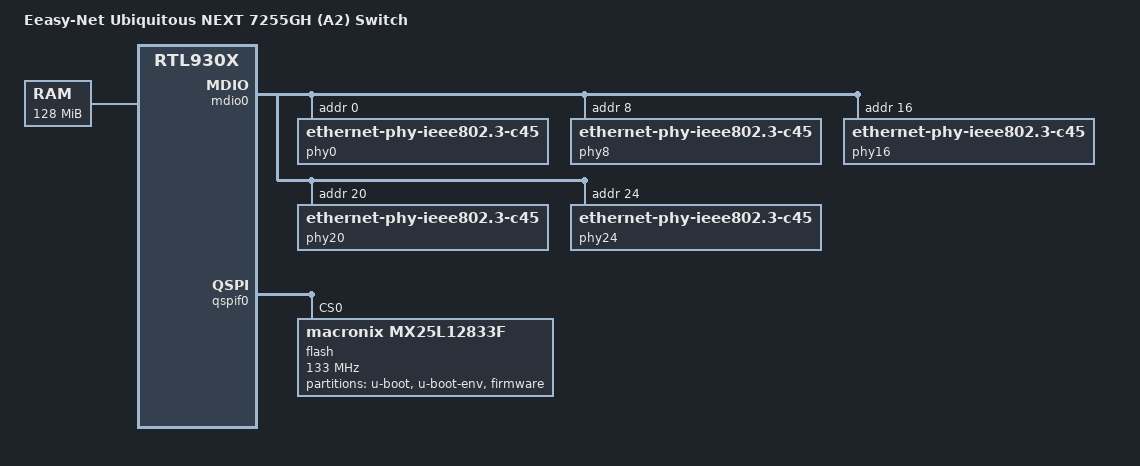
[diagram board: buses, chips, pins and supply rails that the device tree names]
// SPDX-License-Identifier: GPL-2.0-or-later
/dts-v1/;

#include <dt-bindings/gpio/gpio.h>
#include <dt-bindings/input/input.h>
#include <dt-bindings/leds/common.h>
#include <dt-bindings/leds/leds-realtek.h>

#include "rtl9303.dtsi"

/ {
	compatible = "ezu,next-7255gh-a2", "realtek,rtl9303-soc", "realtek,rtl930x-soc";
	model = "Eeasy-Net Ubiquitous NEXT 7255GH (A2) Switch";

	led_set: led_set {
		compatible = "realtek,rtl9300-leds";
		led_set0 = /bits/ 16 <
			/* LED0 */
			(
				RTL93XX_LED_SET_LINK_ACTIVITY |
				RTL93XX_LED_SET_LINK_UP_SOLID |
				RTL93XX_LED_SET_2G5_LINK
			)
			/* LED1 */
			(
				RTL93XX_LED_SET_LINK_ACTIVITY |
				RTL93XX_LED_SET_LINK_UP_SOLID |
				RTL93XX_LED_SET_1000M_LINK |
				RTL93XX_LED_SET_100M_LINK |
				RTL93XX_LED_SET_10M_LINK
			)
		>;
	};

	memory@0 {
		reg = <0x0 0x8000000>; /* 128 MiB */
		device_type = "memory";
	};
};

&mdio0 {
	/* RTL8226 2.5Gpbs PHYs */
	phy0: ethernet-phy@0 {
		reg = <0>;
		compatible = "ethernet-phy-ieee802.3-c45";
		rtl9300,smi-address = <0 1>;
		sds = <2>;
	};

	phy8: ethernet-phy@8 {
		reg = <8>;
		compatible = "ethernet-phy-ieee802.3-c45";
		rtl9300,smi-address = <0 2>;
		sds = <3>;
	};

	phy16: ethernet-phy@16 {
		reg = <16>;
		compatible = "ethernet-phy-ieee802.3-c45";
		rtl9300,smi-address = <0 3>;
		sds = <4>;
	};

	phy20: ethernet-phy@20 {
		reg = <20>;
		compatible = "ethernet-phy-ieee802.3-c45";
		rtl9300,smi-address = <0 4>;
		sds = <5>;
	};

	phy24: ethernet-phy@24 {
		reg = <24>;
		compatible = "ethernet-phy-ieee802.3-c45";
		rtl9300,smi-address = <0 5>;
		sds = <6>;
	};
};

&qspif0 {
	status = "okay";

	flash@0 {
		compatible = "macronix,mx25l12833f", "mxicy,mx25l12833f", "jedec,spi-nor";
		reg = <0>;
		spi-max-frequency = <133000000>;

		partitions: partitions {
			compatible = "fixed-partitions";
			#address-cells = <1>;
			#size-cells = <1>;

			partition@0 {
				reg = <0x0 0xe0000>;
				label = "u-boot";
				read-only;
			};

			partition@e0000 {
				reg = <0xe0000 0x10000>;
				label = "u-boot-env";
			};

			partition@f0000 {
				compatible = "openwrt,uimage", "denx,uimage";
				reg = <0xf0000 0x1f10000>;
				label = "firmware";
				openwrt,ih-magic = <0x93030000>;
			};
		};
	};
};

&switch0_ports {
	port@0 {
		reg = <0>;
		label = "lan1";
		led-num = <(
			RTL93XX_LED_NUM0 | /* Lime */
			RTL93XX_LED_NUM1   /* Lime */
		)>;
		led-set = <0>;
		phy-handle = <&phy0>;
		phy-mode = "hsgmii";
	};

	port@8 {
		reg = <8>;
		label = "lan2";
		led-num = <(
			RTL93XX_LED_NUM0 | /* Lime */
			RTL93XX_LED_NUM1   /* Lime */
		)>;
		led-set = <0>;
		phy-handle = <&phy8>;
		phy-mode = "hsgmii";
	};

	port@16 {
		reg = <16>;
		label = "lan3";
		led-num = <(
			RTL93XX_LED_NUM0 | /* Lime */
			RTL93XX_LED_NUM1   /* Lime */
		)>;
		led-set = <0>;
		phy-handle = <&phy16>;
		phy-mode = "hsgmii";
	};

	port@20 {
		reg = <20>;
		label = "lan4";
		led-num = <(
			RTL93XX_LED_NUM0 | /* Lime */
			RTL93XX_LED_NUM1   /* Lime */
		)>;
		led-set = <0>;
		phy-handle = <&phy20>;
		phy-mode = "hsgmii";
	};

	port@24 {
		reg = <24>;
		label = "lan5";
		led-num = <(
			RTL93XX_LED_NUM0 | /* Lime */
			RTL93XX_LED_NUM1   /* Lime */
		)>;
		led-set = <0>;
		phy-handle = <&phy24>;
		phy-mode = "hsgmii";
	};
};
